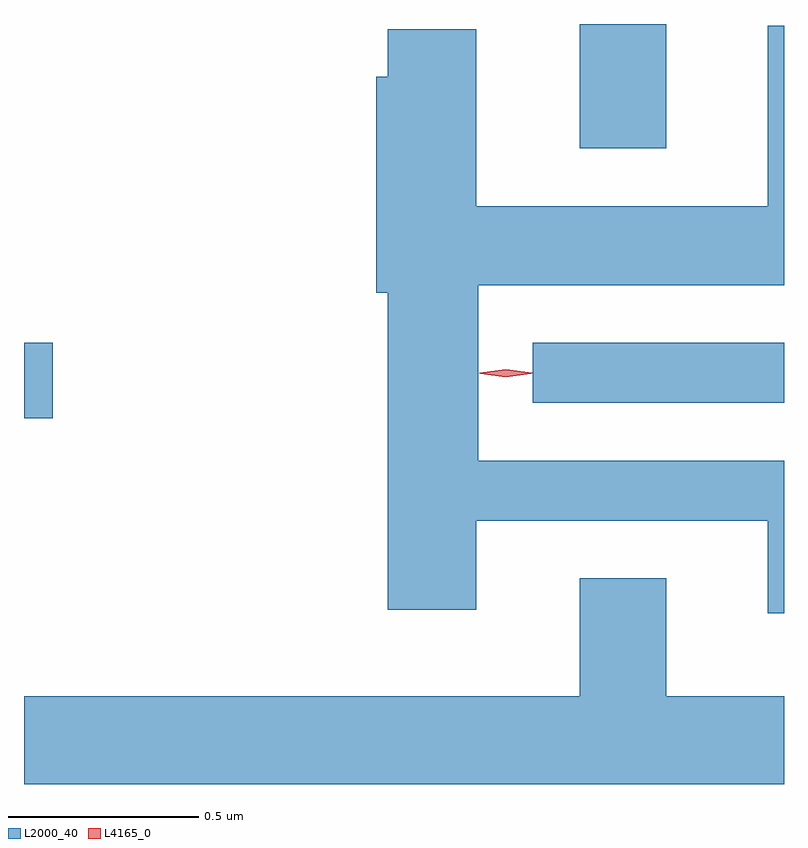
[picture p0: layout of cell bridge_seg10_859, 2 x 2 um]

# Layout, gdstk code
import gdstk
lib = gdstk.Library(unit=1e-6, precision=1e-09)
def R(c, l, rs):  # rectangles x0, y0, x1, y1
    for r in rs: c.add(gdstk.rectangle(r[:2], r[2:], *l))
def P(c, l, *ps):  # polygons
    for p in ps: c.add(gdstk.Polygon(p, *l))
L2000_40 = (2000, 40)
L4165_0 = (4165, 0)

bridge_seg10_859 = lib.new_cell('bridge_seg10_859')
R(bridge_seg10_859, L2000_40, [(205.829,2205.936,205.904,2206.134), (207.168,2205.976,207.829,2206.134), (207.291,2206.646,207.519,2206.973)])
P(bridge_seg10_859, L2000_40, [(207.829,2205.824),(207.024,2205.824),(207.024,2206.286),(207.829,2206.286),(207.829,2206.968),(207.786,2206.968),(207.786,2206.494),(207.019,2206.494),(207.019,2206.959),(206.786,2206.959),(206.786,2206.834),(206.756,2206.834),(206.756,2206.266),(206.786,2206.266),(206.786,2205.431),(207.019,2205.431),(207.019,2205.666),(207.786,2205.666),(207.786,2205.423),(207.829,2205.423)],
  [(207.829,2205.204),(207.519,2205.204),(207.519,2205.514),(207.291,2205.514),(207.291,2205.204),(205.829,2205.204),(205.829,2204.973),(207.829,2204.973)])
P(bridge_seg10_859, L4165_0, [(207.097,2206.044),(207.028,2206.054),(207.027,2206.054),(207.028,2206.055),(207.097,2206.064),(207.166,2206.055),(207.166,2206.054),(207.166,2206.054)],
  [(207.097,2206.043),(207.031,2206.052),(207.03,2206.053),(207.031,2206.053),(207.097,2206.063),(207.162,2206.053),(207.163,2206.053),(207.162,2206.052)])

lib.write_gds('bridge_seg10_859.gds')
